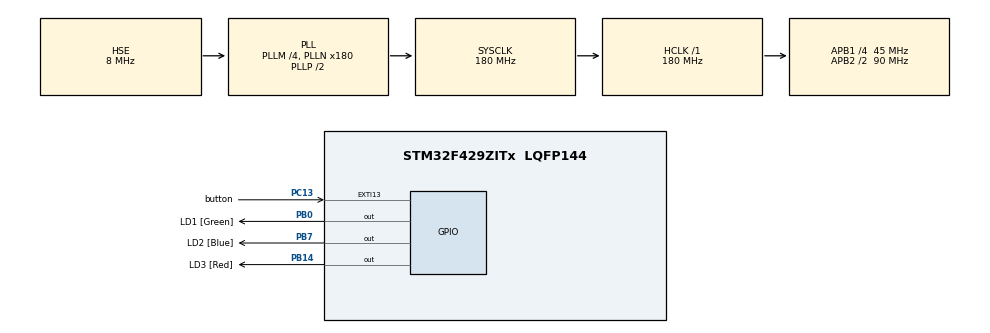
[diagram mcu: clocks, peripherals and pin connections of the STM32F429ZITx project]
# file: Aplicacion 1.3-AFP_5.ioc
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Mcu.Family=STM32F4
Mcu.Name=STM32F429ZITx
Mcu.Package=LQFP144
NVIC.PriorityGroup=NVIC_PRIORITYGROUP_4
PB0.GPIO_Label=LD1 [Green]
PB0.Signal=GPIO_Output
PB14.GPIO_Label=LD3 [Red]
PB14.Signal=GPIO_Output
PB7.GPIO_Label=LD2 [Blue]
PB7.Signal=GPIO_Output
PC13.GPIO_Label=button
PC13.Signal=GPXTI13
PH0/OSC_IN.Mode=HSE-External-Oscillator
PH0/OSC_IN.Signal=RCC_OSC_IN
PH1/OSC_OUT.Mode=HSE-External-Oscillator
PH1/OSC_OUT.Signal=RCC_OSC_OUT
ProjectManager.HeapSize=0x200
ProjectManager.StackSize=0x400
ProjectManager.TargetToolchain=STM32CubeIDE
RCC.48MHZClocksFreq_Value=51428571.428571425
RCC.AHBFreq_Value=180000000
RCC.APB1CLKDivider=RCC_HCLK_DIV4
RCC.APB1Freq_Value=45000000
RCC.APB1TimFreq_Value=90000000
RCC.APB2CLKDivider=RCC_HCLK_DIV2
RCC.APB2Freq_Value=90000000
RCC.APB2TimFreq_Value=180000000
RCC.CortexFreq_Value=180000000
RCC.HCLKFreq_Value=180000000
RCC.HSE_VALUE=8000000
RCC.HSI_VALUE=16000000
RCC.PLLM=4
RCC.PLLMUL=RCC_PLL_MUL9
RCC.PLLN=180
RCC.PLLQ=7
RCC.PLLSourceVirtual=RCC_PLLSOURCE_HSE
RCC.PRESCALERUSB=RCC_USBCLKSOURCE_PLL_DIV1_5
RCC.SYSCLKFreq_VALUE=180000000
RCC.SYSCLKSource=RCC_SYSCLKSOURCE_PLLCLK
RCC.SYSCLKSourceVirtual=RCC_SYSCLKSOURCE_PLLCLK
RCC.USBFreq_Value=48000000
RCC.VCOOutputFreq_Value=360000000
board=NUCLEO-F429ZI

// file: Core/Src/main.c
/* USER CODE BEGIN Header */
/**
  ******************************************************************************
  * @file           : main.c
  * @brief          : Main program body
  ******************************************************************************
  * @attention
  *
  * Copyright (c) 2026 STMicroelectronics.
  * All rights reserved.
  *
  * This software is licensed under terms that can be found in the LICENSE file
  * in the root directory of this software component.
  * If no LICENSE file comes with this software, it is provided AS-IS.
  *
  ******************************************************************************
  */
/* USER CODE END Header */
#include "main.h"
#include "string.h"
#include <stdbool.h>
/* USER CODE BEGIN Includes */
#include "API_GPIO.h"
#include "API_Delay.h"
#include "API_Debounce.h"
/* USER CODE END Includes */

/* USER CODE BEGIN PTD */
typedef enum {
    ESTADO_LED1_ON,  // LED1 encendido
    ESTADO_LED2_ON,  // LED2 encendido
    ESTADO_LED3_ON   // LED3 encendido
} estadoSecuencia_t;

/* USER CODE END PTD */

/* USER CODE BEGIN PD */
#define LED1 LD1_Pin //led verde
#define LED2 LD2_Pin //led azul
#define LED3 LD3_Pin // led rojo
#define T1 100
#define T2 150
#define T3 300
#define T4 600
/* USER CODE END PD */

/* USER CODE BEGIN PV */
led_t LEDS[] = {LED1, LED2, LED3};
estadoSecuencia_t estadoActual = ESTADO_LED1_ON;
delay_t pasoDelay1;
delay_t pasoDelay2;
delay_t pasoDelay3;
delay_t pasoDelay4;
/* USER CODE END PV */

void SystemClock_Config(void);

int main(void)
{

  /* MCU Configuration--------------------------------------------------------*/

  /* Reset of all peripherals, Initializes the Flash interface and the Systick. */
  HAL_Init();

  /* Configure the system clock */
  SystemClock_Config();

  /* Initialize all configured peripherals */
  MX_GPIO_Init();
  debounceFSM_init();
  /* USER CODE BEGIN 2 */
  delayInit(&pasoDelay4, T1);
  delayInit(&pasoDelay1, T2);
  delayInit(&pasoDelay2, T3);
  delayInit(&pasoDelay3, T4);
  /* USER CODE END 2 */

  /* Infinite loop */
  while (1)
  {

    /* USER CODE BEGIN 3 */
	  debounceFSM_update();

	    switch (estado) {
	        case 0:

	        	if (delayRead(&pasoDelay1)) {

	        			  //-------LEDS APAGADOS------//
	        			  LEDapagado_GPIO(LEDS[0]);
	        			  LEDapagado_GPIO(LEDS[1]);
	        			  LEDapagado_GPIO(LEDS[2]);
	        		      //--------------------------//

	        		      switch (estadoActual) {
	        		          case ESTADO_LED1_ON:
	        		        	  LEDencendido_GPIO(LEDS[0]);
	        		              estadoActual = ESTADO_LED2_ON;
	        		              break;

	        		          case ESTADO_LED2_ON:
	        		        	  LEDencendido_GPIO(LEDS[1]);
	        		              estadoActual = ESTADO_LED3_ON;
	        		              break;

	        		          case ESTADO_LED3_ON:
	        		              LEDencendido_GPIO(LEDS[2]);
	        		              estadoActual = ESTADO_LED1_ON;
	        		              break;
	        		      }
	        		  }

	        break;

	        case 1:
	        	static bool ledsEncendidos = false;

	        	if (delayRead(&pasoDelay2)) {
	        	    if (ledsEncendidos) {
	        	        LEDapagado_GPIO(LEDS[0]);
	        	        LEDapagado_GPIO(LEDS[1]);
	        	        LEDapagado_GPIO(LEDS[2]);
	        	        ledsEncendidos = false;
	        	    } else {
	        	        LEDencendido_GPIO(LEDS[0]);
	        	        LEDencendido_GPIO(LEDS[1]);
	        	        LEDencendido_GPIO(LEDS[2]);
	        	        ledsEncendidos = true;
	        	    }
	        	}
	        break;

	        case 2:

	        	if (delayRead(&pasoDelay4)) {
	        		LEDtoggle_GPIO(LEDS[0]);
	            }
	        	if (delayRead(&pasoDelay2)) {
	        		LEDtoggle_GPIO(LEDS[1]);
	        	}
	        	if (delayRead(&pasoDelay3)) {
	        		LEDtoggle_GPIO(LEDS[2]);
	            }

	        break;

	        case 3:
	        	if (delayRead(&pasoDelay2)) {
	        	    if (ledsEncendidos) {
	        	        LEDapagado_GPIO(LEDS[0]);
	        	        LEDencendido_GPIO(LEDS[1]);
	        	        LEDapagado_GPIO(LEDS[2]);
	        	        ledsEncendidos = false;
	        	    } else {
	        	        LEDencendido_GPIO(LEDS[0]);
	        	        LEDapagado_GPIO(LEDS[1]);
	        	        LEDencendido_GPIO(LEDS[2]);
	        	        ledsEncendidos = true;
	        	    }
	        	}
	        break;

	    }

  }
  /* USER CODE END 3 */
}

void SystemClock_Config(void)
{
  RCC_OscInitTypeDef RCC_OscInitStruct = {0};
  RCC_ClkInitTypeDef RCC_ClkInitStruct = {0};

  __HAL_RCC_PWR_CLK_ENABLE();
  __HAL_PWR_VOLTAGESCALING_CONFIG(PWR_REGULATOR_VOLTAGE_SCALE1);

  RCC_OscInitStruct.OscillatorType = RCC_OSCILLATORTYPE_HSE;
  RCC_OscInitStruct.HSEState = RCC_HSE_ON;
  RCC_OscInitStruct.PLL.PLLState = RCC_PLL_ON;
  RCC_OscInitStruct.PLL.PLLSource = RCC_PLLSOURCE_HSE;
  RCC_OscInitStruct.PLL.PLLM = 4;
  RCC_OscInitStruct.PLL.PLLN = 180;
  RCC_OscInitStruct.PLL.PLLP = RCC_PLLP_DIV2;
  RCC_OscInitStruct.PLL.PLLQ = 7;
  if (HAL_RCC_OscConfig(&RCC_OscInitStruct) != HAL_OK)
  {
    Error_Handler();
  }

  if (HAL_PWREx_EnableOverDrive() != HAL_OK)
  {
    Error_Handler();
  }

  RCC_ClkInitStruct.ClockType = RCC_CLOCKTYPE_HCLK|RCC_CLOCKTYPE_SYSCLK
                              |RCC_CLOCKTYPE_PCLK1|RCC_CLOCKTYPE_PCLK2;
  RCC_ClkInitStruct.SYSCLKSource = RCC_SYSCLKSOURCE_PLLCLK;
  RCC_ClkInitStruct.AHBCLKDivider = RCC_SYSCLK_DIV1;
  RCC_ClkInitStruct.APB1CLKDivider = RCC_HCLK_DIV4;
  RCC_ClkInitStruct.APB2CLKDivider = RCC_HCLK_DIV2;

  if (HAL_RCC_ClockConfig(&RCC_ClkInitStruct, FLASH_LATENCY_5) != HAL_OK)
  {
    Error_Handler();
  }
}

void Error_Handler(void)
{
  __disable_irq();
  while (1)
  {
  }
}
